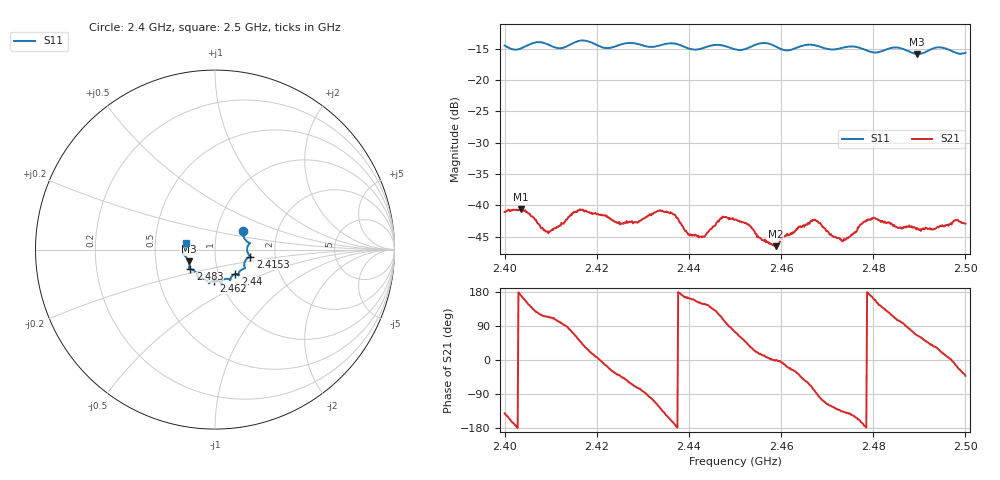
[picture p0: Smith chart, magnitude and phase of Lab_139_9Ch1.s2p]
# Hz S RI R 50
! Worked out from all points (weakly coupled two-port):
!   601 points, 2.4 GHz to 2.5 GHz, reference 50 ohm
!   highest |S21| = -40.58 dB at 2.4035 GHz (marker M1); lowest = -46.5 dB at 2.4588 GHz (marker M2)
!   lowest |S11| = -15.9 dB at 2.4895 GHz (marker M3), VSWR 1.38, Z = 36.9 - j5.01 ohm
!   |S11| at or under -10 dB: start of sweep to end of sweep
!   S12 and S22 are empty: the file has one direction only
!   S11 on the Smith chart (normalised r, x): 2.4 GHz: 1.33, +0.29; 2.4153 GHz: 1.48, -0.12; 2.44 GHz: 1.21, -0.34; 2.462 GHz: 0.93, -0.33; 2.483 GHz: 0.74, -0.17; 2.5 GHz: 0.72, +0.06
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2.4e9  0.155 0.1064  -0.00686 -0.00563  0 0  0 0
2.4035e9  0.1699 0.0536  -0.00923 0.0015  0 0  0 0
2.409333e9  0.1898 0.0318  -0.00249 0.00571  0 0  0 0
2.415333e9  0.1963 -0.0391  0.00384 0.00793  0 0  0 0
2.416667e9  0.2016 -0.043  0.00645 0.00656  0 0  0 0
2.4255e9  0.1659 -0.0985  0.00496 -0.00518  0 0  0 0
2.433333e9  0.131 -0.1339  -0.00469 -0.00778  0 0  0 0
2.4365e9  0.1323 -0.1443  -0.00819 -0.00244  0 0  0 0
2.44e9  0.114 -0.1365  -0.00562 0.00172  0 0  0 0
2.443e9  0.0896 -0.1551  -0.00479 0.00304  0 0  0 0
2.447167e9  0.0841 -0.1689  -0.00279 0.00736  0 0  0 0
2.45e9  0.0649 -0.1631  0.00216 0.0074  0 0  0 0
2.458833e9  0.0319 -0.1819  0.00473 -8.9e-05  0 0  0 0
2.462e9  -0.00519 -0.1732  0.0055 -0.00221  0 0  0 0
2.466667e9  -0.0343 -0.1877  0.00238 -0.00707  0 0  0 0
2.4735e9  -0.0842 -0.1602  -0.00376 -0.0036  0 0  0 0
2.4785e9  -0.1008 -0.1394  -0.0076 -0.000199  0 0  0 0
2.483e9  -0.1374 -0.1094  -0.0046 0.00565  0 0  0 0
2.483333e9  -0.1399 -0.1092  -0.00429 0.00597  0 0  0 0
2.4895e9  -0.1464 -0.0661  0.00275 0.006  0 0  0 0
2.494167e9  -0.1805 -0.0225  0.00592 0.00309  0 0  0 0
2.5e9  -0.16 0.0394  0.00535 -0.00477  0 0  0 0
